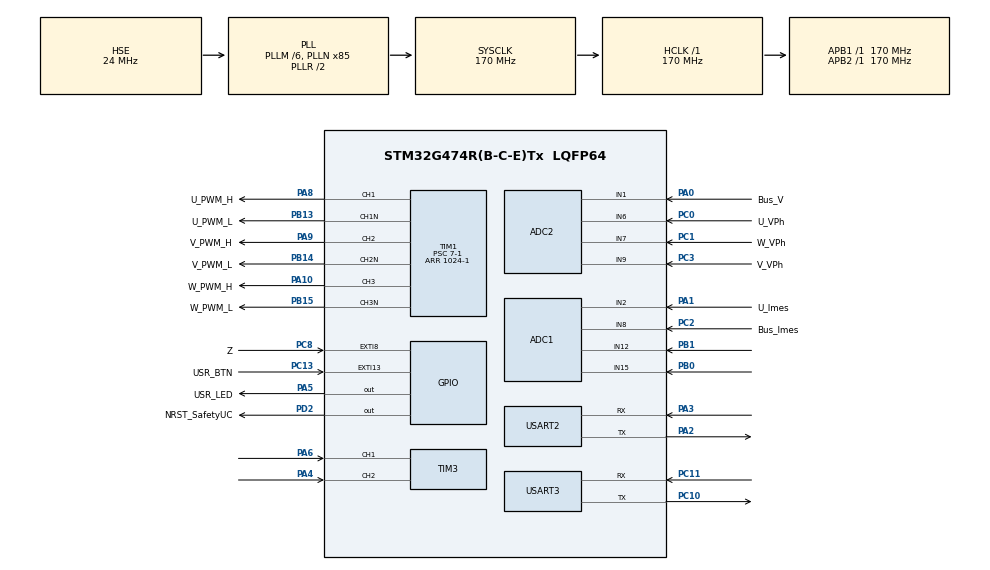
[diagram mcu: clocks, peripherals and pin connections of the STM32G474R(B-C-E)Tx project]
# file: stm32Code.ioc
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ADC1.Channel-0\#ChannelRegularConversion=ADC_CHANNEL_2
ADC1.DMAContinuousRequests=ENABLE
ADC1.ExternalTrigConv=ADC_EXTERNALTRIG_T1_TRGO
ADC1.NbrOfConversion=1
ADC1.NbrOfConversionFlag=1
ADC1.OffsetNumber-0\#ChannelRegularConversion=ADC_OFFSET_NONE
ADC1.Rank-0\#ChannelRegularConversion=1
ADC1.SamplingTime-0\#ChannelRegularConversion=ADC_SAMPLETIME_24CYCLES_5
ADC1.master=1
ADC2.Channel-0\#ChannelRegularConversion=ADC_CHANNEL_6
ADC2.NbrOfConversionFlag=1
ADC2.OffsetNumber-0\#ChannelRegularConversion=ADC_OFFSET_NONE
ADC2.Rank-0\#ChannelRegularConversion=1
ADC2.SamplingTime-0\#ChannelRegularConversion=ADC_SAMPLETIME_2CYCLES_5
Dma.ADC1.0.Direction=DMA_PERIPH_TO_MEMORY
Dma.ADC1.0.EventEnable=DISABLE
Dma.ADC1.0.Instance=DMA1_Channel1
Dma.ADC1.0.MemDataAlignment=DMA_MDATAALIGN_HALFWORD
Dma.ADC1.0.MemInc=DMA_MINC_ENABLE
Dma.ADC1.0.Mode=DMA_CIRCULAR
Dma.ADC1.0.PeriphDataAlignment=DMA_PDATAALIGN_HALFWORD
Dma.ADC1.0.PeriphInc=DMA_PINC_DISABLE
Dma.ADC1.0.Polarity=HAL_DMAMUX_REQ_GEN_RISING
Dma.ADC1.0.Priority=DMA_PRIORITY_LOW
Dma.ADC1.0.RequestNumber=1
Dma.ADC1.0.SignalID=NONE
Dma.ADC1.0.SyncEnable=DISABLE
Dma.ADC1.0.SyncPolarity=HAL_DMAMUX_SYNC_NO_EVENT
Dma.ADC1.0.SyncRequestNumber=1
Dma.ADC1.0.SyncSignalID=NONE
Dma.Request0=ADC1
Mcu.Family=STM32G4
Mcu.Name=STM32G474R(B-C-E)Tx
Mcu.Package=LQFP64
NVIC.DMA1_Channel1_IRQn=true\:0\:0\:false\:false\:true\:false\:true\:true
NVIC.EXTI15_10_IRQn=true\:0\:0\:false\:false\:true\:true\:true\:true
NVIC.EXTI9_5_IRQn=true\:0\:0\:false\:false\:true\:true\:true\:true
NVIC.PriorityGroup=NVIC_PRIORITYGROUP_4
NVIC.TIM4_IRQn=true\:0\:0\:false\:false\:true\:true\:true\:true
NVIC.USART2_IRQn=true\:0\:0\:false\:false\:true\:true\:true\:true
NVIC.USART3_IRQn=true\:0\:0\:false\:false\:true\:true\:true\:true
PA0.GPIO_Label=Bus_V
PA0.Mode=IN1-Single-Ended
PA0.Signal=ADC2_IN1
PA1.GPIO_Label=U_Imes
PA1.Mode=IN2-Single-Ended
PA1.Signal=ADC1_IN2
PA10.GPIO_Label=W_PWM_H
PA10.Signal=S_TIM1_CH3
PA13.GPIO_Label=T_SWDIO
PA13.Mode=Trace_Asynchronous_SW
PA13.Signal=SYS_JTMS-SWDIO
PA14.GPIO_Label=T_SWCLK
PA14.Mode=Trace_Asynchronous_SW
PA14.Signal=SYS_JTCK-SWCLK
PA2.Mode=Asynchronous
PA2.Signal=USART2_TX
PA3.Mode=Asynchronous
PA3.Signal=USART2_RX
PA4.Signal=S_TIM3_CH2
PA5.GPIO_Label=USR_LED
PA5.Signal=GPIO_Output
PA6.Signal=S_TIM3_CH1
PA8.GPIO_Label=U_PWM_H
PA8.Signal=S_TIM1_CH1
PA9.GPIO_Label=V_PWM_H
PA9.Signal=S_TIM1_CH2
PB0.Mode=IN15-Single-Ended
PB0.Signal=ADC1_IN15
PB1.Mode=IN12-Single-Ended
PB1.Signal=ADC1_IN12
PB13.GPIO_Label=U_PWM_L
PB13.Mode=PWM Generation1 CH1 CH1N
PB13.Signal=TIM1_CH1N
PB14.GPIO_Label=V_PWM_L
PB14.Mode=PWM Generation2 CH2 CH2N
PB14.Signal=TIM1_CH2N
PB15.GPIO_Label=W_PWM_L
PB15.Mode=PWM Generation3 CH3 CH3N
PB15.Signal=TIM1_CH3N
PB3.GPIO_Label=T_SWO
PB3.Mode=Trace_Asynchronous_SW
PB3.Signal=SYS_JTDO-SWO
PC0.GPIO_Label=U_VPh
PC0.Mode=IN6-Single-Ended
PC0.Signal=ADC2_IN6
PC1.GPIO_Label=W_VPh
PC1.Mode=IN7-Single-Ended
PC1.Signal=ADC2_IN7
PC10.Mode=Asynchronous
PC10.Signal=USART3_TX
PC11.Mode=Asynchronous
PC11.Signal=USART3_RX
PC13.GPIO_Label=USR_BTN
PC13.Signal=GPXTI13
PC14-OSC32_IN.Mode=LSE-External-Oscillator
PC14-OSC32_IN.Signal=RCC_OSC32_IN
PC15-OSC32_OUT.Mode=LSE-External-Oscillator
PC15-OSC32_OUT.Signal=RCC_OSC32_OUT
PC2.GPIO_Label=Bus_Imes
PC2.Mode=IN8-Single-Ended
PC2.Signal=ADC1_IN8
PC3.GPIO_Label=V_VPh
PC3.Mode=IN9-Single-Ended
PC3.Signal=ADC2_IN9
PC8.GPIO_Label=Z
PC8.Signal=GPXTI8
PD2.GPIO_Label=NRST_SafetyUC
PD2.Signal=GPIO_Output
PF0-OSC_IN.Mode=HSE-External-Oscillator
PF0-OSC_IN.Signal=RCC_OSC_IN
PF1-OSC_OUT.Mode=HSE-External-Oscillator
PF1-OSC_OUT.Signal=RCC_OSC_OUT
ProjectManager.HeapSize=0x200
ProjectManager.StackSize=0x400
ProjectManager.TargetToolchain=STM32CubeIDE
RCC.ADC12Freq_Value=170000000
RCC.ADC345Freq_Value=170000000
RCC.AHBFreq_Value=170000000
RCC.APB1Freq_Value=170000000
RCC.APB1TimFreq_Value=170000000
RCC.APB2Freq_Value=170000000
RCC.APB2TimFreq_Value=170000000
RCC.CortexFreq_Value=170000000
RCC.EXTERNAL_CLOCK_VALUE=12288000
RCC.HCLKFreq_Value=170000000
RCC.HSE_VALUE=24000000
RCC.HSI48_VALUE=48000000
RCC.HSI_VALUE=16000000
RCC.PLLM=RCC_PLLM_DIV6
RCC.PLLN=85
RCC.PLLSourceVirtual=RCC_PLLSOURCE_HSE
RCC.RTCClockSelection=RCC_RTCCLKSOURCE_LSE
RCC.SYSCLKFreq_VALUE=170000000
RCC.SYSCLKSource=RCC_SYSCLKSOURCE_PLLCLK
RCC.USBFreq_Value=170000000
RCC.VCOOutputFreq_Value=340000000
SH.S_TIM1_CH1.0=TIM1_CH1,PWM Generation1 CH1 CH1N
SH.S_TIM1_CH2.0=TIM1_CH2,PWM Generation2 CH2 CH2N
SH.S_TIM1_CH3.0=TIM1_CH3,PWM Generation3 CH3 CH3N
SH.S_TIM3_CH1.0=TIM3_CH1,Encoder_Interface
SH.S_TIM3_CH2.0=TIM3_CH2,Encoder_Interface
TIM1.AutoReloadPreload=TIM_AUTORELOAD_PRELOAD_ENABLE
TIM1.Channel-PWM\ Generation1\ CH1\ CH1N=TIM_CHANNEL_1
TIM1.Channel-PWM\ Generation2\ CH2\ CH2N=TIM_CHANNEL_2
TIM1.Channel-PWM\ Generation3\ CH3\ CH3N=TIM_CHANNEL_3
TIM1.ClockDivision=TIM_CLOCKDIVISION_DIV1
TIM1.CounterMode=TIM_COUNTERMODE_CENTERALIGNED1
TIM1.DeadTime=17
TIM1.PeriodNoDither=1024-1
TIM1.Prescaler=7-1
TIM1.PulseNoDither_1=614
TIM1.PulseNoDither_2=410
TIM1.TIM_MasterOutputTrigger=TIM_TRGO_UPDATE
TIM4.PeriodNoDither=1000.-1
TIM4.Prescaler=1700-1
USART2.VirtualMode-Asynchronous=VM_ASYNC
USART3.VirtualMode-Asynchronous=VM_ASYNC
VP_SYS_VS_DBSignals.Mode=DisableDeadBatterySignals
VP_TIM1_VS_ClockSourceINT.Mode=Internal
VP_TIM4_VS_ClockSourceINT.Mode=Internal
board=NUCLEO-G474RE

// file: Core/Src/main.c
/* USER CODE BEGIN Header */
/**
 ******************************************************************************
 * @file           : main.c
 * @brief          : Main program body
 ******************************************************************************
 * @attention
 *
 * Copyright (c) 2023 STMicroelectronics.
 * All rights reserved.
 *
 * This software is licensed under terms that can be found in the LICENSE file
 * in the root directory of this software component.
 * If no LICENSE file comes with this software, it is provided AS-IS.
 *
 ******************************************************************************
 */
/* USER CODE END Header */
#include "main.h"
#include "adc.h"
#include "dma.h"
#include "tim.h"
#include "usart.h"
#include "gpio.h"

/* USER CODE BEGIN Includes */
#include "mylibs/shell.h"
#include "mylibs/moteur.h"
/* USER CODE END Includes */

/* USER CODE BEGIN PV */
int16_t oldpos = 0 ;
float vitesse  ;
uint16_t nbre_tours = 0 ;
uint16_t Fe = 100 ; // nbre_tours = 0 ;
/* USER CODE END PV */

void SystemClock_Config(void);

/* USER CODE BEGIN 0 */
int __io_putchar(int chr)
{

  HAL_UART_Transmit(&huart2, (uint8_t *)&chr, 1, HAL_MAX_DELAY);

  // HAL_UART_Transmit(&huart2, (uint8_t*)&chr,1, HAL_MAX_DELAY);

  return chr;
}

/* USER CODE END 0 */

int main(void)

{

  /* MCU Configuration--------------------------------------------------------*/

  /* Reset of all peripherals, Initializes the Flash interface and the Systick. */
  HAL_Init();

  /* Configure the system clock */
  SystemClock_Config();

  /* Initialize all configured peripherals */
  MX_GPIO_Init();
  MX_DMA_Init();
  MX_ADC2_Init();
  MX_ADC1_Init();
  MX_TIM1_Init();
  MX_USART2_UART_Init();
  MX_USART3_UART_Init();
  MX_TIM4_Init();
  MX_TIM3_Init();
  /* USER CODE BEGIN 2 */

  // HAL_TIM_PWM_Start(&htim1,TIM_CHANNEL_1);
  // HAL_TIMEx_PWMN_Start(&htim1,TIM_CHANNEL_1);
  // HAL_TIM_PWM_Start(&htim1,TIM_CHANNEL_2);
  // HAL_TIMEx_PWMN_Start(&htim1,TIM_CHANNEL_2);
  Shell_Init();
  ADC_DMA_Init();
  //displayCurrent();
  HAL_TIM_Base_Start_IT(&htim4) ;
  //HAL_ADCEx_Calibration_Start(&hadc1, ADC_SINGLE_ENDED);
  // Démarre le DMA pour recevoir les données ADC
  //HAL_ADC_Start_DMA(&hadc1, (uint32_t *)adc_buffer, ADC_BUFFER_SIZE);
  // Démarre le timer pour déclencher les conversions ADC périodiquement
  //HAL_TIM_Base_Start(&htim1);
  /* USER CODE END 2 */

  /* Infinite loop */
  /* USER CODE BEGIN WHILE */
  while (1)
  {
    Shell_Loop();
    /* USER CODE END WHILE */

    /* USER CODE BEGIN 3 */

    HAL_Delay(1);
  }
  /* USER CODE END 3 */
}

void SystemClock_Config(void)
{
  RCC_OscInitTypeDef RCC_OscInitStruct = {0};
  RCC_ClkInitTypeDef RCC_ClkInitStruct = {0};

  /** Configure the main internal regulator output voltage
  */
  HAL_PWREx_ControlVoltageScaling(PWR_REGULATOR_VOLTAGE_SCALE1_BOOST);

  /** Initializes the RCC Oscillators according to the specified parameters
  * in the RCC_OscInitTypeDef structure.
  */
  RCC_OscInitStruct.OscillatorType = RCC_OSCILLATORTYPE_HSE;
  RCC_OscInitStruct.HSEState = RCC_HSE_ON;
  RCC_OscInitStruct.PLL.PLLState = RCC_PLL_ON;
  RCC_OscInitStruct.PLL.PLLSource = RCC_PLLSOURCE_HSE;
  RCC_OscInitStruct.PLL.PLLM = RCC_PLLM_DIV6;
  RCC_OscInitStruct.PLL.PLLN = 85;
  RCC_OscInitStruct.PLL.PLLP = RCC_PLLP_DIV2;
  RCC_OscInitStruct.PLL.PLLQ = RCC_PLLQ_DIV2;
  RCC_OscInitStruct.PLL.PLLR = RCC_PLLR_DIV2;
  if (HAL_RCC_OscConfig(&RCC_OscInitStruct) != HAL_OK)
  {
    Error_Handler();
  }

  /** Initializes the CPU, AHB and APB buses clocks
  */
  RCC_ClkInitStruct.ClockType = RCC_CLOCKTYPE_HCLK|RCC_CLOCKTYPE_SYSCLK
                              |RCC_CLOCKTYPE_PCLK1|RCC_CLOCKTYPE_PCLK2;
  RCC_ClkInitStruct.SYSCLKSource = RCC_SYSCLKSOURCE_PLLCLK;
  RCC_ClkInitStruct.AHBCLKDivider = RCC_SYSCLK_DIV1;
  RCC_ClkInitStruct.APB1CLKDivider = RCC_HCLK_DIV1;
  RCC_ClkInitStruct.APB2CLKDivider = RCC_HCLK_DIV1;

  if (HAL_RCC_ClockConfig(&RCC_ClkInitStruct, FLASH_LATENCY_4) != HAL_OK)
  {
    Error_Handler();
  }
}

/* USER CODE BEGIN 4 */
void HAL_GPIO_EXTI_Callback(uint16_t GPIO_Pin)
{

  if(GPIO_Pin == Z_Pin) {
  //vitesse = getSpeed(oldpos);
  //oldpos = getPos();
  nbre_tours ++ ;
  TIM3->CNT = 0 ;
  }

}

void HAL_TIM_PeriodElapsedCallback(TIM_HandleTypeDef *htim)
{
    if (htim->Instance == TIM4)
    {
    	vitesse = nbre_tours*Fe*60 ; ; //getSpeed(oldpos);
    	//oldpos = getPos();
    	//TIM3->
    }
}
/* USER CODE END 4 */

void Error_Handler(void)
{
  __disable_irq();
  while (1)
  {
  }
}
